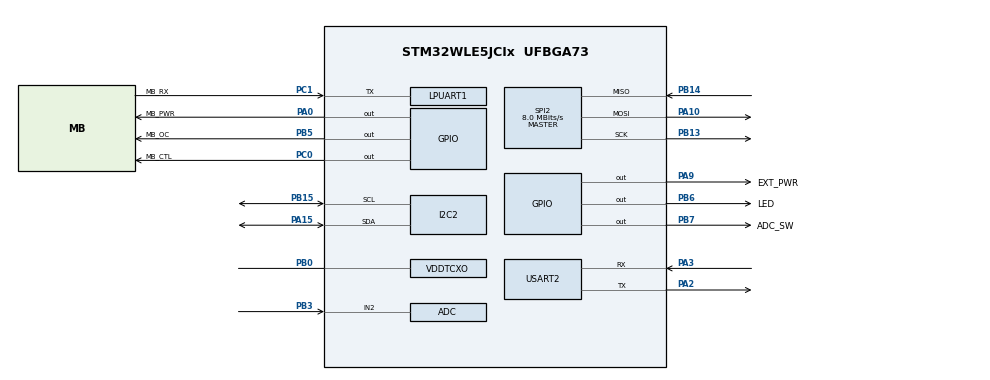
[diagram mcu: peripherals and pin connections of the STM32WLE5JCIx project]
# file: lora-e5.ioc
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ADC.NbrOfConversion=1
ADC.SelectedChannel=ADC_CHANNEL_2|ADC_CHANNEL_VREFINT
FREERTOS.Mutexes01=UartMutex,Dynamic,NULL;SpiMutex,Dynamic,NULL;I2cMutex,Dynamic,NULL;RtcMutex,Dynamic,NULL
FREERTOS.Queues01=xQueue1,100,uint16_t,0,Dynamic,NULL,NULL
FREERTOS.Tasks01=terminalTask,0,128,terminalTaskHandler,Default,NULL,Dynamic,NULL,NULL
FREERTOS.configUSE_IDLE_HOOK=1
FREERTOS.configUSE_NEWLIB_REENTRANT=1
FREERTOS.configUSE_TIMERS=1
I2C2.Timing=0x20303E5D
LPUART1.Mode=UART_MODE_RX
Mcu.Family=STM32WL
Mcu.Name=STM32WLE5JCIx
Mcu.Package=UFBGA73
Mcu.UserConstants=RTC_PREDIV_A,((1<<(15-RTC_N_PREDIV_S))-1);RTC_N_PREDIV_S,10;RTC_PREDIV_S,((1<<RTC_N_PREDIV_S)-1)
NVIC.LPUART1_IRQn=true\:5\:0\:false\:false\:true\:true\:true\:true\:true
NVIC.PriorityGroup=NVIC_PRIORITYGROUP_4
NVIC.TIM1_UP_IRQn=true\:15\:0\:false\:false\:true\:false\:false\:true\:true
NVIC.TimeBase=TIM1_UP_IRQn
NVIC.TimeBaseIP=TIM1
NVIC.USART2_IRQn=true\:5\:0\:false\:false\:true\:true\:true\:true\:true
OSC_IN.Mode=HSE-TCXO
OSC_IN.Signal=RCC_OSC_IN
PA0.GPIO_Label=MB_PWR
PA0.Signal=GPIO_Output
PA10.Mode=Full_Duplex_Master
PA10.Signal=SPI2_MOSI
PA13.Mode=Serial_Wire
PA13.Signal=DEBUG_JTMS-SWDIO
PA14.Mode=Serial_Wire
PA14.Signal=DEBUG_JTCK-SWCLK
PA15.Mode=I2C
PA15.Signal=I2C2_SDA
PA2.Mode=Asynchronous
PA2.Signal=USART2_TX
PA3.Mode=Asynchronous
PA3.Signal=USART2_RX
PA9.GPIO_Label=EXT_PWR
PA9.Signal=GPIO_Output
PB0-VDD_TCXO.Mode=HSE-TCXO
PB0-VDD_TCXO.Signal=VDDTCXO
PB13.Mode=Full_Duplex_Master
PB13.Signal=SPI2_SCK
PB14.Mode=Full_Duplex_Master
PB14.Signal=SPI2_MISO
PB15.Mode=I2C
PB15.Signal=I2C2_SCL
PB3.Mode=IN2
PB3.Signal=ADC_IN2
PB5.GPIO_Label=MB_OC
PB5.Signal=GPIO_Output
PB6.GPIO_Label=LED
PB6.Signal=GPIO_Output
PB7.GPIO_Label=ADC_SW
PB7.Signal=GPIO_Output
PC0.GPIO_Label=MB_CTL
PC0.Signal=GPIO_Output
PC1.GPIO_Label=MB_RX
PC1.Mode=Half_duplex(single_wire_mode)
PC1.Signal=LPUART1_TX
PC14-OSC32_IN.Mode=LSE-External-Oscillator
PC14-OSC32_IN.Signal=RCC_OSC32_IN
PC15-OSC32_OUT.Mode=LSE-External-Oscillator
PC15-OSC32_OUT.Signal=RCC_OSC32_OUT
ProjectManager.HeapSize=0x200
ProjectManager.StackSize=0x400
ProjectManager.TargetToolchain=STM32CubeIDE
RCC.AHBFreq_Value=48000000
RCC.APB1Freq_Value=48000000
RCC.APB1TimFreq_Value=48000000
RCC.APB2Freq_Value=48000000
RCC.APB2TimFreq_Value=48000000
RCC.APB3Freq_Value=48000000
RCC.CortexFreq_Value=48000000
RCC.HCLKFreq_Value=48000000
RCC.HSE_VALUE=32000000
RCC.HSI_VALUE=16000000
RCC.LSE_VALUE=32768
RCC.MSIClockRange=RCC_MSIRANGE_11
RCC.RTCClockSelection=RCC_RTCCLKSOURCE_LSE
RCC.SYSCLKFreq_VALUE=48000000
RCC.VCOOutputFreq_Value=384000000
RTC.Alarm-Alarm\ A=RTC_ALARM_A
SPI2.CalculateBaudRate=8.0 MBits/s
SPI2.Direction=SPI_DIRECTION_2LINES
SPI2.Mode=SPI_MODE_MASTER
SPI2.VirtualType=VM_MASTER
USART2.VirtualMode-Asynchronous=VM_ASYNC
VP_ADC_Vref_Input.Mode=IN-Vrefint
VP_FREERTOS_VS_CMSIS_V1.Mode=CMSIS_V1
VP_RTC_VS_RTC_Activate.Mode=RTC_Enabled
VP_RTC_VS_RTC_Alarm_A_Intern.Mode=Alarm A
VP_RTC_VS_RTC_Calendar.Mode=RTC_Calendar
VP_SYS_VS_tim1.Mode=TIM1
board=custom

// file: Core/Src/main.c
/* USER CODE BEGIN Header */
/**
  ******************************************************************************
  * @file           : main.c
  * @brief          : Main program body
  ******************************************************************************
  * @attention
  *
  * Copyright (c) 2023 STMicroelectronics.
  * All rights reserved.
  *
  * This software is licensed under terms that can be found in the LICENSE file
  * in the root directory of this software component.
  * If no LICENSE file comes with this software, it is provided AS-IS.
  *
  ******************************************************************************
  */
/* USER CODE END Header */
#include "main.h"
#include "cmsis_os.h"

ADC_HandleTypeDef hadc;

I2C_HandleTypeDef hi2c2;

UART_HandleTypeDef hlpuart1;
UART_HandleTypeDef huart2;

RTC_HandleTypeDef hrtc;

SPI_HandleTypeDef hspi2;

osThreadId terminalTaskHandle;
osMessageQId xQueue1Handle;
osMutexId UartMutexHandle;
osMutexId SpiMutexHandle;
osMutexId I2cMutexHandle;
osMutexId RtcMutexHandle;

void SystemClock_Config(void);
static void MX_GPIO_Init(void);
static void MX_ADC_Init(void);
static void MX_LPUART1_UART_Init(void);
static void MX_USART2_UART_Init(void);
static void MX_RTC_Init(void);
static void MX_SPI2_Init(void);
static void MX_I2C2_Init(void);
void terminalTaskHandler(void const * argument);

int main(void)
{

  /* MCU Configuration--------------------------------------------------------*/

  /* Reset of all peripherals, Initializes the Flash interface and the Systick. */
  HAL_Init();

  /* Configure the system clock */
  SystemClock_Config();

  /* Initialize all configured peripherals */
  MX_GPIO_Init();
  MX_ADC_Init();
  MX_LPUART1_UART_Init();
  MX_USART2_UART_Init();
  MX_RTC_Init();
  MX_SPI2_Init();
  MX_I2C2_Init();

  /* Create the mutex(es) */
  /* definition and creation of UartMutex */
  osMutexDef(UartMutex);
  UartMutexHandle = osMutexCreate(osMutex(UartMutex));

  /* definition and creation of SpiMutex */
  osMutexDef(SpiMutex);
  SpiMutexHandle = osMutexCreate(osMutex(SpiMutex));

  /* definition and creation of I2cMutex */
  osMutexDef(I2cMutex);
  I2cMutexHandle = osMutexCreate(osMutex(I2cMutex));

  /* definition and creation of RtcMutex */
  osMutexDef(RtcMutex);
  RtcMutexHandle = osMutexCreate(osMutex(RtcMutex));

  /* Create the queue(s) */
  /* definition and creation of xQueue1 */
  osMessageQDef(xQueue1, 100, uint16_t);
  xQueue1Handle = osMessageCreate(osMessageQ(xQueue1), NULL);

  /* Create the thread(s) */
  /* definition and creation of terminalTask */
  osThreadDef(terminalTask, terminalTaskHandler, osPriorityNormal, 0, 128);
  terminalTaskHandle = osThreadCreate(osThread(terminalTask), NULL);

  /* Start scheduler */
  osKernelStart();
  /* We should never get here as control is now taken by the scheduler */
  /* Infinite loop */
  while (1)
  {

  }
}

void SystemClock_Config(void)
{
  RCC_OscInitTypeDef RCC_OscInitStruct = {0};
  RCC_ClkInitTypeDef RCC_ClkInitStruct = {0};

  /** Configure LSE Drive Capability
  */
  HAL_PWR_EnableBkUpAccess();
  __HAL_RCC_LSEDRIVE_CONFIG(RCC_LSEDRIVE_LOW);

  /** Configure the main internal regulator output voltage
  */
  __HAL_PWR_VOLTAGESCALING_CONFIG(PWR_REGULATOR_VOLTAGE_SCALE1);

  /** Initializes the CPU, AHB and APB buses clocks
  */
  RCC_OscInitStruct.OscillatorType =
       RCC_OSCILLATORTYPE_LSE | RCC_OSCILLATORTYPE_MSI;
   RCC_OscInitStruct.LSEState = RCC_LSE_ON;
   RCC_OscInitStruct.MSIState = RCC_MSI_ON;
   RCC_OscInitStruct.MSICalibrationValue = RCC_MSICALIBRATION_DEFAULT;
   RCC_OscInitStruct.MSIClockRange = RCC_MSIRANGE_11;
   RCC_OscInitStruct.PLL.PLLState = RCC_PLL_NONE;
  if (HAL_RCC_OscConfig(&RCC_OscInitStruct) != HAL_OK)
  {
    Error_Handler();
  }

  /** Configure the SYSCLKSource, HCLK, PCLK1 and PCLK2 clocks dividers
  */
  RCC_ClkInitStruct.ClockType = RCC_CLOCKTYPE_HCLK3|RCC_CLOCKTYPE_HCLK
                              |RCC_CLOCKTYPE_SYSCLK|RCC_CLOCKTYPE_PCLK1
                              |RCC_CLOCKTYPE_PCLK2;
  RCC_ClkInitStruct.SYSCLKSource = RCC_SYSCLKSOURCE_MSI;
  RCC_ClkInitStruct.AHBCLKDivider = RCC_SYSCLK_DIV1;
  RCC_ClkInitStruct.APB1CLKDivider = RCC_HCLK_DIV1;
  RCC_ClkInitStruct.APB2CLKDivider = RCC_HCLK_DIV1;
  RCC_ClkInitStruct.AHBCLK3Divider = RCC_SYSCLK_DIV1;

  if (HAL_RCC_ClockConfig(&RCC_ClkInitStruct, FLASH_LATENCY_2) != HAL_OK)
  {
    Error_Handler();
  }
}

static void MX_ADC_Init(void)
{

  /** Configure the global features of the ADC (Clock, Resolution, Data Alignment and number of conversion)
  */
  hadc.Instance = ADC;
  hadc.Init.ClockPrescaler = ADC_CLOCK_SYNC_PCLK_DIV4;
  hadc.Init.Resolution = ADC_RESOLUTION_12B;
  hadc.Init.DataAlign = ADC_DATAALIGN_RIGHT;
  hadc.Init.ScanConvMode = ADC_SCAN_DISABLE;
  hadc.Init.EOCSelection = ADC_EOC_SINGLE_CONV;
  hadc.Init.LowPowerAutoWait = DISABLE;
  hadc.Init.LowPowerAutoPowerOff = DISABLE;
  hadc.Init.ContinuousConvMode = DISABLE;
  hadc.Init.NbrOfConversion = 1;
  hadc.Init.DiscontinuousConvMode = DISABLE;
  hadc.Init.ExternalTrigConv = ADC_SOFTWARE_START;
  hadc.Init.ExternalTrigConvEdge = ADC_EXTERNALTRIGCONVEDGE_NONE;
  hadc.Init.DMAContinuousRequests = DISABLE;
  hadc.Init.Overrun = ADC_OVR_DATA_OVERWRITTEN;
  hadc.Init.SamplingTimeCommon1 = ADC_SAMPLETIME_160CYCLES_5;
  hadc.Init.SamplingTimeCommon2 = ADC_SAMPLETIME_160CYCLES_5;
  hadc.Init.OversamplingMode = DISABLE;
  hadc.Init.TriggerFrequencyMode = ADC_TRIGGER_FREQ_HIGH;
  if (HAL_ADC_Init(&hadc) != HAL_OK)
  {
    Error_Handler();
  }

}

static void MX_I2C2_Init(void)
{

  hi2c2.Instance = I2C2;
  hi2c2.Init.Timing = 0x20303E5D;
  hi2c2.Init.OwnAddress1 = 0;
  hi2c2.Init.AddressingMode = I2C_ADDRESSINGMODE_7BIT;
  hi2c2.Init.DualAddressMode = I2C_DUALADDRESS_DISABLE;
  hi2c2.Init.OwnAddress2 = 0;
  hi2c2.Init.OwnAddress2Masks = I2C_OA2_NOMASK;
  hi2c2.Init.GeneralCallMode = I2C_GENERALCALL_DISABLE;
  hi2c2.Init.NoStretchMode = I2C_NOSTRETCH_DISABLE;
  if (HAL_I2C_Init(&hi2c2) != HAL_OK)
  {
    Error_Handler();
  }

  /** Configure Analogue filter
  */
  if (HAL_I2CEx_ConfigAnalogFilter(&hi2c2, I2C_ANALOGFILTER_ENABLE) != HAL_OK)
  {
    Error_Handler();
  }

  /** Configure Digital filter
  */
  if (HAL_I2CEx_ConfigDigitalFilter(&hi2c2, 0) != HAL_OK)
  {
    Error_Handler();
  }

}

static void MX_LPUART1_UART_Init(void)
{

  hlpuart1.Instance = LPUART1;
  hlpuart1.Init.BaudRate = 209700;
  hlpuart1.Init.WordLength = UART_WORDLENGTH_8B;
  hlpuart1.Init.StopBits = UART_STOPBITS_1;
  hlpuart1.Init.Parity = UART_PARITY_NONE;
  hlpuart1.Init.Mode = UART_MODE_RX;
  hlpuart1.Init.HwFlowCtl = UART_HWCONTROL_NONE;
  hlpuart1.Init.OneBitSampling = UART_ONE_BIT_SAMPLE_DISABLE;
  hlpuart1.Init.ClockPrescaler = UART_PRESCALER_DIV1;
  hlpuart1.AdvancedInit.AdvFeatureInit = UART_ADVFEATURE_NO_INIT;
  if (HAL_HalfDuplex_Init(&hlpuart1) != HAL_OK)
  {
    Error_Handler();
  }
  if (HAL_UARTEx_SetTxFifoThreshold(&hlpuart1, UART_TXFIFO_THRESHOLD_1_8) != HAL_OK)
  {
    Error_Handler();
  }
  if (HAL_UARTEx_SetRxFifoThreshold(&hlpuart1, UART_RXFIFO_THRESHOLD_1_8) != HAL_OK)
  {
    Error_Handler();
  }
  if (HAL_UARTEx_DisableFifoMode(&hlpuart1) != HAL_OK)
  {
    Error_Handler();
  }

}

static void MX_USART2_UART_Init(void)
{

  huart2.Instance = USART2;
  huart2.Init.BaudRate = 115200;
  huart2.Init.WordLength = UART_WORDLENGTH_8B;
  huart2.Init.StopBits = UART_STOPBITS_1;
  huart2.Init.Parity = UART_PARITY_NONE;
  huart2.Init.Mode = UART_MODE_TX_RX;
  huart2.Init.HwFlowCtl = UART_HWCONTROL_NONE;
  huart2.Init.OverSampling = UART_OVERSAMPLING_16;
  huart2.Init.OneBitSampling = UART_ONE_BIT_SAMPLE_DISABLE;
  huart2.Init.ClockPrescaler = UART_PRESCALER_DIV1;
  huart2.AdvancedInit.AdvFeatureInit = UART_ADVFEATURE_NO_INIT;
  if (HAL_UART_Init(&huart2) != HAL_OK)
  {
    Error_Handler();
  }
  if (HAL_UARTEx_SetTxFifoThreshold(&huart2, UART_TXFIFO_THRESHOLD_1_8) != HAL_OK)
  {
    Error_Handler();
  }
  if (HAL_UARTEx_SetRxFifoThreshold(&huart2, UART_RXFIFO_THRESHOLD_1_8) != HAL_OK)
  {
    Error_Handler();
  }
  if (HAL_UARTEx_DisableFifoMode(&huart2) != HAL_OK)
  {
    Error_Handler();
  }

}

static void MX_RTC_Init(void)
{

  RTC_TimeTypeDef sTime = {0};
  RTC_DateTypeDef sDate = {0};
  RTC_AlarmTypeDef sAlarm = {0};

  /** Initialize RTC Only
  */
  hrtc.Instance = RTC;
  hrtc.Init.HourFormat = RTC_HOURFORMAT_24;
  hrtc.Init.AsynchPrediv = 127;
  hrtc.Init.SynchPrediv = 255;
  hrtc.Init.OutPut = RTC_OUTPUT_DISABLE;
  hrtc.Init.OutPutRemap = RTC_OUTPUT_REMAP_NONE;
  hrtc.Init.OutPutPolarity = RTC_OUTPUT_POLARITY_HIGH;
  hrtc.Init.OutPutType = RTC_OUTPUT_TYPE_OPENDRAIN;
  hrtc.Init.OutPutPullUp = RTC_OUTPUT_PULLUP_NONE;
  hrtc.Init.BinMode = RTC_BINARY_NONE;
  if (HAL_RTC_Init(&hrtc) != HAL_OK)
  {
    Error_Handler();
  }

  /** Initialize RTC and set the Time and Date
  */
  sTime.Hours = 0x0;
  sTime.Minutes = 0x0;
  sTime.Seconds = 0x0;
  sTime.DayLightSaving = RTC_DAYLIGHTSAVING_NONE;
  sTime.StoreOperation = RTC_STOREOPERATION_RESET;
  if (HAL_RTC_SetTime(&hrtc, &sTime, RTC_FORMAT_BCD) != HAL_OK)
  {
    Error_Handler();
  }
  sDate.WeekDay = RTC_WEEKDAY_MONDAY;
  sDate.Month = RTC_MONTH_JANUARY;
  sDate.Date = 0x1;
  sDate.Year = 0x0;

  if (HAL_RTC_SetDate(&hrtc, &sDate, RTC_FORMAT_BCD) != HAL_OK)
  {
    Error_Handler();
  }

  /** Enable the Alarm A
  */
  sAlarm.AlarmTime.Hours = 0x0;
  sAlarm.AlarmTime.Minutes = 0x0;
  sAlarm.AlarmTime.Seconds = 0x0;
  sAlarm.AlarmTime.SubSeconds = 0x0;
  sAlarm.AlarmTime.DayLightSaving = RTC_DAYLIGHTSAVING_NONE;
  sAlarm.AlarmTime.StoreOperation = RTC_STOREOPERATION_RESET;
  sAlarm.AlarmMask = RTC_ALARMMASK_NONE;
  sAlarm.AlarmSubSecondMask = RTC_ALARMSUBSECONDMASK_ALL;
  sAlarm.AlarmDateWeekDaySel = RTC_ALARMDATEWEEKDAYSEL_DATE;
  sAlarm.AlarmDateWeekDay = 0x1;
  sAlarm.Alarm = RTC_ALARM_A;
  if (HAL_RTC_SetAlarm(&hrtc, &sAlarm, RTC_FORMAT_BCD) != HAL_OK)
  {
    Error_Handler();
  }

}

static void MX_SPI2_Init(void)
{

  /* SPI2 parameter configuration*/
  hspi2.Instance = SPI2;
  hspi2.Init.Mode = SPI_MODE_MASTER;
  hspi2.Init.Direction = SPI_DIRECTION_2LINES;
  hspi2.Init.DataSize = SPI_DATASIZE_4BIT;
  hspi2.Init.CLKPolarity = SPI_POLARITY_LOW;
  hspi2.Init.CLKPhase = SPI_PHASE_1EDGE;
  hspi2.Init.NSS = SPI_NSS_SOFT;
  hspi2.Init.BaudRatePrescaler = SPI_BAUDRATEPRESCALER_2;
  hspi2.Init.FirstBit = SPI_FIRSTBIT_MSB;
  hspi2.Init.TIMode = SPI_TIMODE_DISABLE;
  hspi2.Init.CRCCalculation = SPI_CRCCALCULATION_DISABLE;
  hspi2.Init.CRCPolynomial = 7;
  hspi2.Init.CRCLength = SPI_CRC_LENGTH_DATASIZE;
  hspi2.Init.NSSPMode = SPI_NSS_PULSE_ENABLE;
  if (HAL_SPI_Init(&hspi2) != HAL_OK)
  {
    Error_Handler();
  }

}

static void MX_GPIO_Init(void)
{
  GPIO_InitTypeDef GPIO_InitStruct = {0};

  /* GPIO Ports Clock Enable */
  __HAL_RCC_GPIOA_CLK_ENABLE();
  __HAL_RCC_GPIOB_CLK_ENABLE();
  __HAL_RCC_GPIOC_CLK_ENABLE();

  /*Configure GPIO pin Output Level */
  HAL_GPIO_WritePin(GPIOB, ADC_SW_Pin|MB_OC_Pin|LED_Pin, GPIO_PIN_RESET);

  /*Configure GPIO pin Output Level */
  HAL_GPIO_WritePin(GPIOA, MB_PWR_Pin|EXT_PWR_Pin, GPIO_PIN_RESET);

  /*Configure GPIO pin Output Level */
  HAL_GPIO_WritePin(MB_CTL_GPIO_Port, MB_CTL_Pin, GPIO_PIN_RESET);

  /*Configure GPIO pins : ADC_SW_Pin MB_OC_Pin LED_Pin */
  GPIO_InitStruct.Pin = ADC_SW_Pin|MB_OC_Pin|LED_Pin;
  GPIO_InitStruct.Mode = GPIO_MODE_OUTPUT_PP;
  GPIO_InitStruct.Pull = GPIO_NOPULL;
  GPIO_InitStruct.Speed = GPIO_SPEED_FREQ_LOW;
  HAL_GPIO_Init(GPIOB, &GPIO_InitStruct);

  /*Configure GPIO pins : MB_PWR_Pin EXT_PWR_Pin */
  GPIO_InitStruct.Pin = MB_PWR_Pin|EXT_PWR_Pin;
  GPIO_InitStruct.Mode = GPIO_MODE_OUTPUT_PP;
  GPIO_InitStruct.Pull = GPIO_NOPULL;
  GPIO_InitStruct.Speed = GPIO_SPEED_FREQ_LOW;
  HAL_GPIO_Init(GPIOA, &GPIO_InitStruct);

  /*Configure GPIO pin : MB_CTL_Pin */
  GPIO_InitStruct.Pin = MB_CTL_Pin;
  GPIO_InitStruct.Mode = GPIO_MODE_OUTPUT_PP;
  GPIO_InitStruct.Pull = GPIO_NOPULL;
  GPIO_InitStruct.Speed = GPIO_SPEED_FREQ_LOW;
  HAL_GPIO_Init(MB_CTL_GPIO_Port, &GPIO_InitStruct);

}

/* USER CODE BEGIN 4 */
void rTosDelay(uint32_t Delay)
{
  osDelay(Delay);
}

ADC_HandleTypeDef *Get_AdcHandle(void)
{
  return &hadc;
}

UART_HandleTypeDef *Get_DebugHandle(void)
{
  return &huart2;
}

UART_HandleTypeDef *Get_SonarHandle(void)
{
  return &hlpuart1;;
}

RTC_HandleTypeDef  *Get_RtcHandle(void)
{
  return &hrtc;
}

SPI_HandleTypeDef   *Get_SpiHandle(void)
{
  return &hspi2;
}

I2C_HandleTypeDef   *Get_I2cHandle(void)
{
  return &hi2c2;
}

osMutexId  Get_UartMutexHandle(void)
{
  return UartMutexHandle;
}

osMutexId  Get_SpiMutexHandle(void)
{
  return SpiMutexHandle;;
}

osMutexId  Get_I2cMutexHandle(void)
{
  return I2cMutexHandle;;
}

osMutexId  Get_RtcMutexHandle(void)
{
  return RtcMutexHandle;;
}

osMessageQId Get_TerminalQueueHandle(void)
{
  return xQueue1Handle;;
}

/* USER CODE END 4 */

void HAL_TIM_PeriodElapsedCallback(TIM_HandleTypeDef *htim)
{
  if (htim->Instance == TIM1) {
    HAL_IncTick();
  }
}

void Error_Handler(void)
{
  __disable_irq();
  while (1)
  {
  }
}

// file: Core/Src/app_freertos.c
/* USER CODE BEGIN Header */
/**
  ******************************************************************************
  * File Name          : app_freertos.c
  * Description        : Code for freertos applications
  ******************************************************************************
  * @attention
  *
  * Copyright (c) 2023 STMicroelectronics.
  * All rights reserved.
  *
  * This software is licensed under terms that can be found in the LICENSE file
  * in the root directory of this software component.
  * If no LICENSE file comes with this software, it is provided AS-IS.
  *
  ******************************************************************************
  */
/* USER CODE END Header */

#include "FreeRTOS.h"
#include "task.h"
#include "main.h"

/* GetIdleTaskMemory prototype (linked to static allocation support) */
void vApplicationGetIdleTaskMemory( StaticTask_t **ppxIdleTaskTCBBuffer, StackType_t **ppxIdleTaskStackBuffer, uint32_t *pulIdleTaskStackSize );

/* GetTimerTaskMemory prototype (linked to static allocation support) */
void vApplicationGetTimerTaskMemory( StaticTask_t **ppxTimerTaskTCBBuffer, StackType_t **ppxTimerTaskStackBuffer, uint32_t *pulTimerTaskStackSize );

/* Hook prototypes */
void vApplicationIdleHook(void);

/* USER CODE BEGIN 2 */
__weak void vApplicationIdleHook( void )
{
   /* vApplicationIdleHook() will only be called if configUSE_IDLE_HOOK is set
   to 1 in FreeRTOSConfig.h. It will be called on each iteration of the idle
   task. It is essential that code added to this hook function never attempts
   to block in any way (for example, call xQueueReceive() with a block time
   specified, or call vTaskDelay()). If the application makes use of the
   vTaskDelete() API function (as this demo application does) then it is also
   important that vApplicationIdleHook() is permitted to return to its calling
   function, because it is the responsibility of the idle task to clean up
   memory allocated by the kernel to any task that has since been deleted. */
}
/* USER CODE END 2 */

/* USER CODE BEGIN GET_IDLE_TASK_MEMORY */
static StaticTask_t xIdleTaskTCBBuffer;
static StackType_t xIdleStack[configMINIMAL_STACK_SIZE];

void vApplicationGetIdleTaskMemory( StaticTask_t **ppxIdleTaskTCBBuffer, StackType_t **ppxIdleTaskStackBuffer, uint32_t *pulIdleTaskStackSize )
{
  *ppxIdleTaskTCBBuffer = &xIdleTaskTCBBuffer;
  *ppxIdleTaskStackBuffer = &xIdleStack[0];
  *pulIdleTaskStackSize = configMINIMAL_STACK_SIZE;
  /* place for user code */
}
/* USER CODE END GET_IDLE_TASK_MEMORY */

/* USER CODE BEGIN GET_TIMER_TASK_MEMORY */
static StaticTask_t xTimerTaskTCBBuffer;
static StackType_t xTimerStack[configTIMER_TASK_STACK_DEPTH];

void vApplicationGetTimerTaskMemory( StaticTask_t **ppxTimerTaskTCBBuffer, StackType_t **ppxTimerTaskStackBuffer, uint32_t *pulTimerTaskStackSize )
{
  *ppxTimerTaskTCBBuffer = &xTimerTaskTCBBuffer;
  *ppxTimerTaskStackBuffer = &xTimerStack[0];
  *pulTimerTaskStackSize = configTIMER_TASK_STACK_DEPTH;
  /* place for user code */
}
/* USER CODE END GET_TIMER_TASK_MEMORY */
